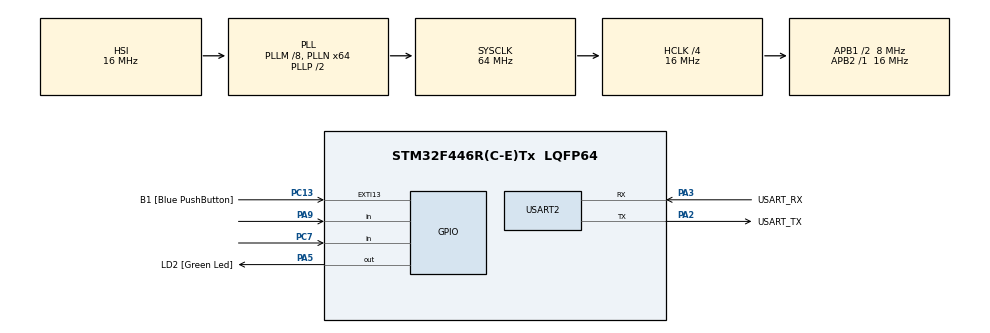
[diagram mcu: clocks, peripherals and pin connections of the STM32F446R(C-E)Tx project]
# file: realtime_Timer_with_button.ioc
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Mcu.Family=STM32F4
Mcu.Name=STM32F446R(C-E)Tx
Mcu.Package=LQFP64
NVIC.PriorityGroup=NVIC_PRIORITYGROUP_0
PA13.GPIO_Label=TMS
PA13.Mode=Serial_Wire
PA13.Signal=SYS_JTMS-SWDIO
PA14.GPIO_Label=TCK
PA14.Mode=Serial_Wire
PA14.Signal=SYS_JTCK-SWCLK
PA2.GPIO_Label=USART_TX
PA2.Mode=Asynchronous
PA2.Signal=USART2_TX
PA3.GPIO_Label=USART_RX
PA3.Mode=Asynchronous
PA3.Signal=USART2_RX
PA5.GPIO_Label=LD2 [Green Led]
PA5.Signal=GPIO_Output
PA9.GPIO_PuPd=GPIO_PULLDOWN
PA9.Signal=GPIO_Input
PB3.GPIO_Label=SWO
PB3.Signal=SYS_JTDO-SWO
PC13.GPIO_Label=B1 [Blue PushButton]
PC13.GPIO_ModeDefaultEXTI=GPIO_MODE_IT_FALLING
PC13.Signal=GPXTI13
PC14-OSC32_IN.Mode=LSE-External-Oscillator
PC14-OSC32_IN.Signal=RCC_OSC32_IN
PC15-OSC32_OUT.Mode=LSE-External-Oscillator
PC15-OSC32_OUT.Signal=RCC_OSC32_OUT
PC7.GPIO_PuPd=GPIO_PULLDOWN
PC7.Signal=GPIO_Input
PH0-OSC_IN.Mode=HSE-External-Oscillator
PH0-OSC_IN.Signal=RCC_OSC_IN
PH1-OSC_OUT.Mode=HSE-External-Oscillator
PH1-OSC_OUT.Signal=RCC_OSC_OUT
ProjectManager.HeapSize=0x200
ProjectManager.StackSize=0x400
ProjectManager.TargetToolchain=STM32CubeIDE
RCC.48MHZClocksFreq_Value=84000000
RCC.AHBCLKDivider=RCC_SYSCLK_DIV4
RCC.AHBFreq_Value=16000000
RCC.APB1CLKDivider=RCC_HCLK_DIV2
RCC.APB1Freq_Value=8000000
RCC.APB1TimFreq_Value=16000000
RCC.APB2Freq_Value=16000000
RCC.APB2TimFreq_Value=16000000
RCC.CortexFreq_Value=16000000
RCC.FLatency-AdvancedSettings=FLASH_LATENCY_0
RCC.HCLKFreq_Value=16000000
RCC.HSE_VALUE=8000000
RCC.HSI_VALUE=16000000
RCC.PLLM=8
RCC.PLLN=64
RCC.SYSCLKFreq_VALUE=64000000
RCC.SYSCLKSource=RCC_SYSCLKSOURCE_PLLCLK
RCC.USBFreq_Value=64000000
RCC.VCOOutputFreq_Value=128000000
USART2.VirtualMode=VM_ASYNC
board=NUCLEO-F446RE

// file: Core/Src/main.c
/* USER CODE BEGIN Header */
/**
  ******************************************************************************
  * @file           : main.c
  * @brief          : Main program body
  ******************************************************************************
  * @attention
  *
  * Copyright (c) 2023 STMicroelectronics.
  * All rights reserved.
  *
  * This software is licensed under terms that can be found in the LICENSE file
  * in the root directory of this software component.
  * If no LICENSE file comes with this software, it is provided AS-IS.
  *
  ******************************************************************************
  */
/* USER CODE END Header */
#include "main.h"
#include<stdio.h>
#include<stdbool.h>

UART_HandleTypeDef huart2;

void SystemClock_Config(void);
static void MX_GPIO_Init(void);
static void MX_USART2_UART_Init(void);

/* USER CODE BEGIN 0 */
volatile unsigned int one_sec_flag=0,mili_sec_flag=0;
volatile unsigned int counter=0,mili_counter=0;

int _write(int file, char *ptr, int len){
	HAL_UART_Transmit(&huart2, (uint8_t*) ptr, len, HAL_MAX_DELAY);
	return len;
}

bool time_ms(unsigned int t){
	SysTick->LOAD = t * (16000-1);
	SysTick->VAL=0;
	SysTick->CTRL = 7;
	return 1;
}

void SysTick_Handler(void)
{
  /* USER CODE BEGIN SysTick_IRQn 0 */
	mili_sec_flag = 1;
//	if (counter <= 1000){
//		counter++;
//		if(counter == 1000){
//			one_sec_flag=1;
//		}
//	}
  /* USER CODE END SysTick_IRQn 0 */
  HAL_IncTick();
  /* USER CODE BEGIN SysTick_IRQn 1 */

  /* USER CODE END SysTick_IRQn 1 */
}
/* USER CODE END 0 */

int main(void)
{
  /* USER CODE BEGIN 1 */
 int min=0,sec=0,mili=0;
 bool reset,start=0,stop=0;
  /* USER CODE END 1 */

  /* MCU Configuration--------------------------------------------------------*/

  /* Reset of all peripherals, Initializes the Flash interface and the Systick. */
  HAL_Init();

  /* Configure the system clock */
  SystemClock_Config();

  /* Initialize all configured peripherals */
  MX_GPIO_Init();
  MX_USART2_UART_Init();
  /* USER CODE BEGIN 2 */
  time_ms(1);
  /* USER CODE END 2 */

  /* Infinite loop */
  /* USER CODE BEGIN WHILE */
  printf("Welcome to Stopwatch\n\r");
  while (1)
  {
    /* USER CODE END WHILE */
	  if(HAL_GPIO_ReadPin(GPIOC, GPIO_PIN_7) == 1){
	  		  start =1;
	  	  }
	  	  if(HAL_GPIO_ReadPin(GPIOC, GPIO_PIN_7) == 0 && start ==1) {
	  		  stop=1;
	  		  start =0;
	  	  }
	  	  if(start==1){
	  		  if(reset==0){
	  	  		  if(mili_sec_flag == 1){
	  	  					  mili++;
	  	  					  if(mili == 1000){
	  	  						  mili=0;
	  	  						  sec++;
	  	  					  }
	  	  					  if(sec == 60){
	  	  						  sec=0;
	  	  						  min++;
	  	  					  }
	  	  					  if(min==60){
	  	  						  min=0;
	  	  					  }
	  	  					  mili_counter=0;
	  	  					  mili_sec_flag=0;
	  	  					  printf("%d s:%d msec\n\r",sec,mili);
	  	  		  }
	  		  }
	  		  if(reset==1){
	  			  mili=0;
	  			  sec=0;
	  			  min=0;
	  			  reset=0;
	  		  }
	  	  }
	  	  if(stop==1){
	  	  		  printf("You Stopped Timer\n\r");
	  	  		  reset=1;
	  	  		  stop=0;
	  	  }
	      /* USER CODE BEGIN 3 */
    /* USER CODE BEGIN 3 */
  }
  /* USER CODE END 3 */
}

void SystemClock_Config(void)
{
  RCC_OscInitTypeDef RCC_OscInitStruct = {0};
  RCC_ClkInitTypeDef RCC_ClkInitStruct = {0};

  /** Configure the main internal regulator output voltage
  */
  __HAL_RCC_PWR_CLK_ENABLE();
  __HAL_PWR_VOLTAGESCALING_CONFIG(PWR_REGULATOR_VOLTAGE_SCALE3);

  /** Initializes the RCC Oscillators according to the specified parameters
  * in the RCC_OscInitTypeDef structure.
  */
  RCC_OscInitStruct.OscillatorType = RCC_OSCILLATORTYPE_HSI;
  RCC_OscInitStruct.HSIState = RCC_HSI_ON;
  RCC_OscInitStruct.HSICalibrationValue = RCC_HSICALIBRATION_DEFAULT;
  RCC_OscInitStruct.PLL.PLLState = RCC_PLL_ON;
  RCC_OscInitStruct.PLL.PLLSource = RCC_PLLSOURCE_HSI;
  RCC_OscInitStruct.PLL.PLLM = 8;
  RCC_OscInitStruct.PLL.PLLN = 64;
  RCC_OscInitStruct.PLL.PLLP = RCC_PLLP_DIV2;
  RCC_OscInitStruct.PLL.PLLQ = 2;
  RCC_OscInitStruct.PLL.PLLR = 2;
  if (HAL_RCC_OscConfig(&RCC_OscInitStruct) != HAL_OK)
  {
    Error_Handler();
  }

  /** Initializes the CPU, AHB and APB buses clocks
  */
  RCC_ClkInitStruct.ClockType = RCC_CLOCKTYPE_HCLK|RCC_CLOCKTYPE_SYSCLK
                              |RCC_CLOCKTYPE_PCLK1|RCC_CLOCKTYPE_PCLK2;
  RCC_ClkInitStruct.SYSCLKSource = RCC_SYSCLKSOURCE_PLLCLK;
  RCC_ClkInitStruct.AHBCLKDivider = RCC_SYSCLK_DIV4;
  RCC_ClkInitStruct.APB1CLKDivider = RCC_HCLK_DIV2;
  RCC_ClkInitStruct.APB2CLKDivider = RCC_HCLK_DIV1;

  if (HAL_RCC_ClockConfig(&RCC_ClkInitStruct, FLASH_LATENCY_0) != HAL_OK)
  {
    Error_Handler();
  }
}

static void MX_USART2_UART_Init(void)
{

  huart2.Instance = USART2;
  huart2.Init.BaudRate = 115200;
  huart2.Init.WordLength = UART_WORDLENGTH_8B;
  huart2.Init.StopBits = UART_STOPBITS_1;
  huart2.Init.Parity = UART_PARITY_NONE;
  huart2.Init.Mode = UART_MODE_TX_RX;
  huart2.Init.HwFlowCtl = UART_HWCONTROL_NONE;
  huart2.Init.OverSampling = UART_OVERSAMPLING_16;
  if (HAL_UART_Init(&huart2) != HAL_OK)
  {
    Error_Handler();
  }

}

static void MX_GPIO_Init(void)
{
  GPIO_InitTypeDef GPIO_InitStruct = {0};

  /* GPIO Ports Clock Enable */
  __HAL_RCC_GPIOC_CLK_ENABLE();
  __HAL_RCC_GPIOH_CLK_ENABLE();
  __HAL_RCC_GPIOA_CLK_ENABLE();
  __HAL_RCC_GPIOB_CLK_ENABLE();

  /*Configure GPIO pin Output Level */
  HAL_GPIO_WritePin(LD2_GPIO_Port, LD2_Pin, GPIO_PIN_RESET);

  /*Configure GPIO pin : B1_Pin */
  GPIO_InitStruct.Pin = B1_Pin;
  GPIO_InitStruct.Mode = GPIO_MODE_IT_FALLING;
  GPIO_InitStruct.Pull = GPIO_NOPULL;
  HAL_GPIO_Init(B1_GPIO_Port, &GPIO_InitStruct);

  /*Configure GPIO pin : LD2_Pin */
  GPIO_InitStruct.Pin = LD2_Pin;
  GPIO_InitStruct.Mode = GPIO_MODE_OUTPUT_PP;
  GPIO_InitStruct.Pull = GPIO_NOPULL;
  GPIO_InitStruct.Speed = GPIO_SPEED_FREQ_LOW;
  HAL_GPIO_Init(LD2_GPIO_Port, &GPIO_InitStruct);

  /*Configure GPIO pin : PC7 */
  GPIO_InitStruct.Pin = GPIO_PIN_7;
  GPIO_InitStruct.Mode = GPIO_MODE_INPUT;
  GPIO_InitStruct.Pull = GPIO_PULLDOWN;
  HAL_GPIO_Init(GPIOC, &GPIO_InitStruct);

  /*Configure GPIO pin : PA9 */
  GPIO_InitStruct.Pin = GPIO_PIN_9;
  GPIO_InitStruct.Mode = GPIO_MODE_INPUT;
  GPIO_InitStruct.Pull = GPIO_PULLDOWN;
  HAL_GPIO_Init(GPIOA, &GPIO_InitStruct);

}

void Error_Handler(void)
{
  __disable_irq();
  while (1)
  {
  }
}
